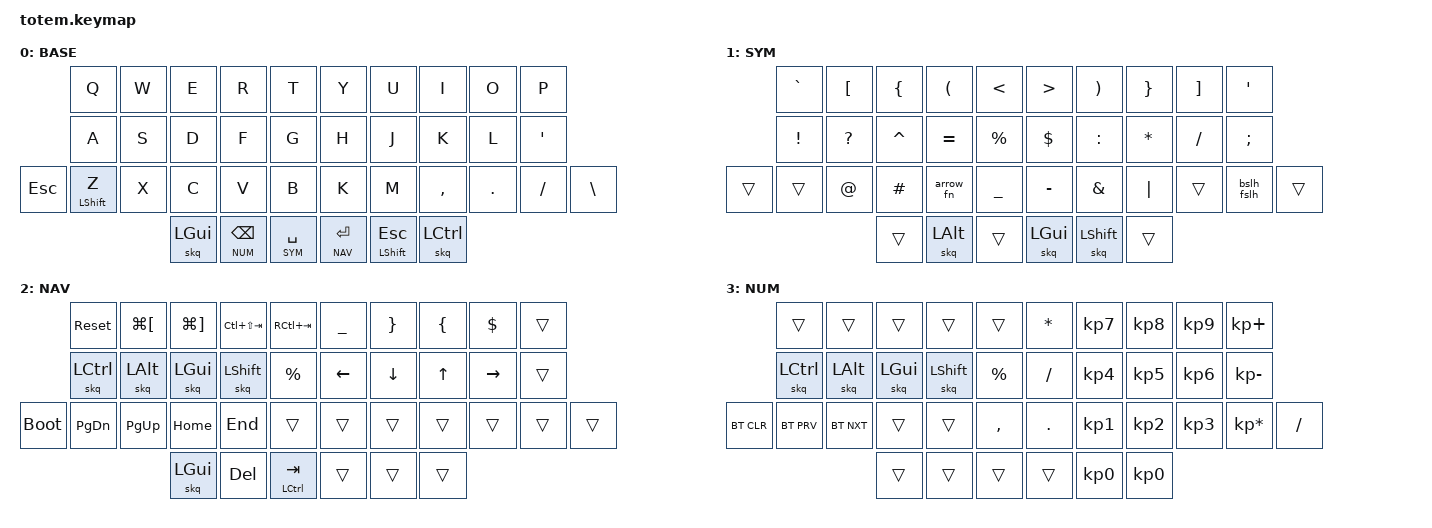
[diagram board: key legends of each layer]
//
//                                                        ▀▀▀▀▀     ▀▀▀▀▀          ▀▀█▀▀
//                                                        ▄▀▀▀▄  ▄  ▄▀▀▀▄  ▄  ▄▀▀▀▄  █  ▄▀▀▀▄
//                                                        █   █  █  █   █  █  █   █  █  █   █
//                                                         ▀▀▀   █   ▀▀▀   █   ▀▀▀   ▀   ▀▀▀
//                                                               █      ▄▄▄█▄▄▄    █   █  
//                                                               ▀      █  █  █     █▄█
//                                                             ▀▀▀▀▀    █  █  █      ▀
//                                                                      ▀  ▀  ▀
//
// ▄▄▄▄▄▄▄▄▄▄▄▄▄▄▄▄▄▄▄▄▄▄▄▄▄▄▄▄▄▄▄▄▄▄▄▄▄▄▄▄▄▄▄▄▄▄▄▄▄▄▄▄▄▄▄▄▄▄▄▄▄▄▄▄▄▄▄▄▄▄▄▄▄▄▄▄▄▄▄▄▄▄▄▄▄▄▄▄▄▄▄▄▄▄▄▄▄▄▄▄▄▄▄▄▄▄▄▄▄▄▄▄▄▄▄▄▄▄▄▄▄▄▄▄▄▄▄▄▄▄▄▄▄▄▄▄▄▄▄▄▄▄▄▄▄▄▄▄▄
       

#include <behaviors.dtsi>
#include <dt-bindings/zmk/keys.h>
#include <dt-bindings/zmk/bt.h>
#include <dt-bindings/zmk/outputs.h>

#define BASE 0
#define NAV  1
#define SYM  2
#define NUM  3

&lt {
  flavor = "balanced";
  tapping-term-ms = <200>;
  quick-tap-ms = <175>;
};

&mt {
  quick-tap-ms = <100>;
  global-quick-tap;
  flavor = "tap-preferred";
  tapping-term-ms = <170>;
};

/ {
  behaviors {
    // sticky quick release
    skq: sticky_key_quick_release {
      compatible = "zmk,behavior-sticky-key";
      label = "STICKY_KEY_QUICK_RELEASE";
      #binding-cells = <1>;
      bindings = <&kp>;
      release-after-ms = <1000>;
      quick-release;
      ignore-modifiers;
    };

    // tap: left-parenthesis | shift + tap: less-than
    lpar_lt: lpar_lessthan {
      compatible = "zmk,behavior-mod-morph";
      label = "LPAR_GREATER_THAN";
      #binding-cells = <0>;
      bindings = <&kp LPAR>, <&kp LT>;
      mods = <(MOD_LSFT|MOD_RSFT)>;
    };

    // tap: right-parenthesis | shift + tap: greater-than
    rpar_gt: rpar_greaterthan {
      compatible = "zmk,behavior-mod-morph";
      label = "RPAR_LESS_THAN";
      #binding-cells = <0>;
      bindings = <&kp RPAR>, <&kp GT>;
      mods = <(MOD_LSFT|MOD_RSFT)>;
    };

    // tap: backslash | shift + tap: forwardslash
    bslh_fslh: backslash_forwardslash {
      compatible = "zmk,behavior-mod-morph";
      label = "BACKSLASH_FORWARDSLASH";
      #binding-cells = <0>;
      bindings = <&kp BSLH>, <&kp FSLH>;
      mods = <(MOD_LSFT|MOD_RSFT)>;
    };
 
    // tap: dot | shift + tap: comma 
    dot_comma: dot_comma {
      compatible = "zmk,behavior-mod-morph";
      label = "DOT_COMMA";
      #binding-cells = <0>;
      bindings = <&kp DOT>, <&kp COMMA>;
      mods = <(MOD_LSFT|MOD_RSFT)>;
    };
  };

  macros {
    arrow_fn: arrow_fn {
      compatible = "zmk,behavior-macro";
      label = "ARROW_FUNCTION";
      #binding-cells = <0>;
      bindings
        = <&macro_tap &kp EQUAL>
        , <&macro_tap &kp GT>
        ;
    };
  };

        keymap {
                compatible = "zmk,keymap";
// ▄▄▄▄▄▄▄▄▄▄▄▄▄▄▄▄▄▄▄▄▄▄▄▄▄▄▄▄▄▄▄▄▄▄▄▄▄▄▄▄▄▄▄▄▄▄▄▄▄▄▄▄▄▄▄▄▄▄▄▄▄▄▄▄▄▄▄▄▄▄▄▄▄▄▄▄▄▄▄▄▄▄▄▄▄▄▄▄▄▄▄▄▄▄▄▄▄▄▄▄▄▄▄▄▄▄▄▄▄▄▄▄▄▄▄▄▄▄▄▄▄▄▄▄▄▄▄▄▄▄▄▄▄▄▄▄▄▄▄▄▄▄▄▄▄▄▄▄▄

                base_layer {
// ┏━━━━━━━━━━━━━━━━━━━━━━━━━━━━━━━━━━━━━━━┓
label= "BASE"                              ;
// ┗━━━━━━━━━━━━━━━━━━━━━━━━━━━━━━━━━━━━━━━┛
//             ┏━━━━━━━━━━━┳━━━━━━━━━━━┳━━━━━━━━━━━┳━━━━━━━━━━━┳━━━━━━━━━━━┓   ┏━━━━━━━━━━━┳━━━━━━━━━━━┳━━━━━━━━━━━┳━━━━━━━━━━━┳━━━━━━━━━━━┓
//             ┃     Q     ┃     W     ┃     E     ┃     R     ┃     T     ┃   ┃     Y     ┃     U     ┃     I     ┃     O     ┃     P     ┃
//             ┣━━━━━━━━━━━╋━━━━━━━━━━━╋━━━━━━━━━━━╋━━━━━━━━━━━╋━━━━━━━━━━━┫   ┣━━━━━━━━━━━╋━━━━━━━━━━━╋━━━━━━━━━━━╋━━━━━━━━━━━╋━━━━━━━━━━━┫
//             ┃     A     ┃     S     ┃     D     ┃     F     ┃     G     ┃   ┃     H     ┃     J     ┃     K     ┃     L     ┃     ;     ┃
// ┏━━━━━━━━━━━╋━━━━━━━━━━━╋━━━━━━━━━━━╋━━━━━━━━━━━╋━━━━━━━━━━━╋━━━━━━━━━━━┫   ┣━━━━━━━━━━━╋━━━━━━━━━━━╋━━━━━━━━━━━╋━━━━━━━━━━━╋━━━━━━━━━━━╋━━━━━━━━━━━┓
// ┃    ESC    ┃     Z     ┃     X     ┃     C     ┃     V     ┃     B     ┃   ┃     N     ┃     M     ┃     ,     ┃     .     ┃     /     ┃     \     ┃
// ┗━━━━━━━━━━━┻━━━━━━━━━━━┻━━━━━━━━━━━╋━━━━━━━━━━━╋━━━━━━━━━━━╋━━━━━━━━━━━┫   ┣━━━━━━━━━━━╋━━━━━━━━━━━╋━━━━━━━━━━━╋━━━━━━━━━━━┻━━━━━━━━━━━┻━━━━━━━━━━━┛
//                                     ┃   LGUI    ┃   BSPC    ┃    SPC    ┃   ┃    RET    ┃ LSHFT/ESC ┃   LCTRL   ┃
//                                     ┗━━━━━━━━━━━┻━━━━━━━━━━━┻━━━━━━━━━━━┛   ┗━━━━━━━━━━━┻━━━━━━━━━━━┻━━━━━━━━━━━┛
 bindings = <
// ╷           ╷           ╷           ╷           ╷           ╷           ╷   ╷           ╷           ╷           ╷           ╷           ╷           ╷

                &kp Q       &kp W       &kp E       &kp R        &kp T           &kp Y       &kp U         &kp I       &kp O      &kp P
                &kp A       &kp S       &kp D       &kp F        &kp G           &kp H       &kp J         &kp K       &kp L      &kp SQT
    &kp ESC     &mt LSHFT Z &kp X       &kp C       &kp V        &kp B           &kp K       &kp M         &kp COMMA   &kp DOT    &kp FSLH  &kp BSLH
                                        &skq LGUI   &lt NUM BSPC &lt SYM SPACE   &lt NAV RET &mt LSHFT ESC &skq LCTRL
                        >;
                };

// ▄▄▄▄▄▄▄▄▄▄▄▄▄▄▄▄▄▄▄▄▄▄▄▄▄▄▄▄▄▄▄▄▄▄▄▄▄▄▄▄▄▄▄▄▄▄▄▄▄▄▄▄▄▄▄▄▄▄▄▄▄▄▄▄▄▄▄▄▄▄▄▄▄▄▄▄▄▄▄▄▄▄▄▄▄▄▄▄▄▄▄▄▄▄▄▄▄▄▄▄▄▄▄▄▄▄▄▄▄▄▄▄▄▄▄▄▄▄▄▄▄▄▄▄▄▄▄▄▄▄▄▄▄▄▄▄▄▄▄▄▄▄▄▄▄▄▄▄▄


                sym_layer {
// ┏━━━━━━━━━━━━━━━━━━━━━━━━━━━━━━━━━━━━━━━┓
label= "SYM"                               ;
// ┗━━━━━━━━━━━━━━━━━━━━━━━━━━━━━━━━━━━━━━━┛
//             ┏━━━━━━━━━━━┳━━━━━━━━━━━┳━━━━━━━━━━━┳━━━━━━━━━━━┳━━━━━━━━━━━┓   ┏━━━━━━━━━━━┳━━━━━━━━━━━┳━━━━━━━━━━━┳━━━━━━━━━━━┳━━━━━━━━━━━┓
//             ┃     `     ┃     [     ┃     {     ┃     (     ┃     <     ┃   ┃     >     ┃     )     ┃     }     ┃     ]     ┃     '     ┃
//             ┣━━━━━━━━━━━╋━━━━━━━━━━━╋━━━━━━━━━━━╋━━━━━━━━━━━╋━━━━━━━━━━━┫   ┣━━━━━━━━━━━╋━━━━━━━━━━━╋━━━━━━━━━━━╋━━━━━━━━━━━╋━━━━━━━━━━━┫
//             ┃     !     ┃     ?     ┃     ^     ┃     =     ┃     %     ┃   ┃     $     ┃     :     ┃     *     ┃     /     ┃     ;     ┃
// ┏━━━━━━━━━━━╋━━━━━━━━━━━╋━━━━━━━━━━━╋━━━━━━━━━━━╋━━━━━━━━━━━╋━━━━━━━━━━━┫   ┣━━━━━━━━━━━╋━━━━━━━━━━━╋━━━━━━━━━━━╋━━━━━━━━━━━╋━━━━━━━━━━━╋━━━━━━━━━━━┓
// ┃           ┃           ┃     @     ┃     #     ┃     =>    ┃     _     ┃   ┃     -     ┃     &     ┃     |     ┃           ┃     \     ┃           ┃
// ┗━━━━━━━━━━━┻━━━━━━━━━━━┻━━━━━━━━━━━╋━━━━━━━━━━━╋━━━━━━━━━━━╋━━━━━━━━━━━┫   ┣━━━━━━━━━━━╋━━━━━━━━━━━╋━━━━━━━━━━━╋━━━━━━━━━━━┻━━━━━━━━━━━┻━━━━━━━━━━━┛
//                                     ┃           ┃   LALT    ┃           ┃   ┃   LGUI    ┃   LSHFT   ┃           ┃
//                                     ┗━━━━━━━━━━━┻━━━━━━━━━━━┻━━━━━━━━━━━┛   ┗━━━━━━━━━━━┻━━━━━━━━━━━┻━━━━━━━━━━━┛
 bindings = <
// ╷           ╷           ╷           ╷           ╷           ╷           ╷   ╷           ╷           ╷           ╷           ╷           ╷           ╷

                &kp GRAVE   &kp LBKT    &kp LBRC    &kp LPAR    &kp LT          &kp GT      &kp RPAR    &kp RBRC    &kp RBKT    &kp SQT 
                &kp EXCL    &kp QMARK   &kp CARET   &kp EQUAL   &kp PRCNT       &kp DLLR    &kp COLON   &kp STAR    &kp FSLH    &kp SEMI       
    &trans      &trans      &kp AT      &kp HASH    &arrow_fn   &kp UNDER       &kp MINUS   &kp AMPS    &kp PIPE    &trans      &bslh_fslh    &trans         
                                        &trans      &skq LALT   &trans          &skq LGUI   &skq LSHFT  &trans      
                        >;
                };

// ▄▄▄▄▄▄▄▄▄▄▄▄▄▄▄▄▄▄▄▄▄▄▄▄▄▄▄▄▄▄▄▄▄▄▄▄▄▄▄▄▄▄▄▄▄▄▄▄▄▄▄▄▄▄▄▄▄▄▄▄▄▄▄▄▄▄▄▄▄▄▄▄▄▄▄▄▄▄▄▄▄▄▄▄▄▄▄▄▄▄▄▄▄▄▄▄▄▄▄▄▄▄▄▄▄▄▄▄▄▄▄▄▄▄▄▄▄▄▄▄▄▄▄▄▄▄▄▄▄▄▄▄▄▄▄▄▄▄▄▄▄▄▄▄▄▄▄▄▄


                nav_layer {
// ┏━━━━━━━━━━━━━━━━━━━━━━━━━━━━━━━━━━━━━━━┓
label= "NAV"                               ;
// ┗━━━━━━━━━━━━━━━━━━━━━━━━━━━━━━━━━━━━━━━┛
//             ┏━━━━━━━━━━━┳━━━━━━━━━━━┳━━━━━━━━━━━┳━━━━━━━━━━━┳━━━━━━━━━━━┓   ┏━━━━━━━━━━━┳━━━━━━━━━━━┳━━━━━━━━━━━┳━━━━━━━━━━━┳━━━━━━━━━━━┓
//             ┃           ┃           ┃           ┃           ┃           ┃   ┃     ^     ┃   RBRC    ┃   LBRC    ┃     $     ┃           ┃
//             ┣━━━━━━━━━━━╋━━━━━━━━━━━╋━━━━━━━━━━━╋━━━━━━━━━━━╋━━━━━━━━━━━┫   ┣━━━━━━━━━━━╋━━━━━━━━━━━╋━━━━━━━━━━━╋━━━━━━━━━━━╋━━━━━━━━━━━┫
//             ┃   LCTRL   ┃   LALT    ┃   LGUI    ┃   LSHFT   ┃     %     ┃   ┃   LEFT    ┃   DOWN    ┃    UP     ┃   RIGHT   ┃           ┃
// ┏━━━━━━━━━━━╋━━━━━━━━━━━╋━━━━━━━━━━━╋━━━━━━━━━━━╋━━━━━━━━━━━╋━━━━━━━━━━━┫   ┣━━━━━━━━━━━╋━━━━━━━━━━━╋━━━━━━━━━━━╋━━━━━━━━━━━╋━━━━━━━━━━━╋━━━━━━━━━━━┓
// ┃ BOOTLOAD  ┃   PG DN   ┃   PG UP   ┃   HOME    ┃    END    ┃           ┃   ┃           ┃           ┃           ┃           ┃           ┃           ┃
// ┗━━━━━━━━━━━┻━━━━━━━━━━━┻━━━━━━━━━━━╋━━━━━━━━━━━╋━━━━━━━━━━━╋━━━━━━━━━━━┫   ┣━━━━━━━━━━━╋━━━━━━━━━━━╋━━━━━━━━━━━╋━━━━━━━━━━━┻━━━━━━━━━━━┻━━━━━━━━━━━┛
//                                     ┃   LGUI    ┃   DEL     ┃ CTRL/TAB  ┃   ┃           ┃           ┃           ┃
//                                     ┗━━━━━━━━━━━┻━━━━━━━━━━━┻━━━━━━━━━━━┛   ┗━━━━━━━━━━━┻━━━━━━━━━━━┻━━━━━━━━━━━┛
 bindings = <
// ╷           ╷           ╷           ╷           ╷           ╷           ╷   ╷           ╷           ╷           ╷           ╷           ╷           ╷

                &sys_reset  &kp LG(LBKT) &kp LG(RBKT) &kp LC(LS(TAB)) &kp RC(TAB) &kp UNDER   &kp RBRC    &kp LBRC    &kp DLLR    &trans
                &skq LCTRL  &skq LALT    &skq LGUI   &skq LSHFT  &kp PRCNT        &kp LEFT    &kp DOWN    &kp UP      &kp RIGHT   &trans
    &bootloader &kp PG_DN   &kp PG_UP    &kp HOME    &kp END     &trans           &trans      &trans      &trans      &trans      &trans      &trans         
                                         &skq LGUI   &kp DEL     &mt LCTRL TAB    &trans      &trans      &trans      
                        >;
                };

// ▄▄▄▄▄▄▄▄▄▄▄▄▄▄▄▄▄▄▄▄▄▄▄▄▄▄▄▄▄▄▄▄▄▄▄▄▄▄▄▄▄▄▄▄▄▄▄▄▄▄▄▄▄▄▄▄▄▄▄▄▄▄▄▄▄▄▄▄▄▄▄▄▄▄▄▄▄▄▄▄▄▄▄▄▄▄▄▄▄▄▄▄▄▄▄▄▄▄▄▄▄▄▄▄▄▄▄▄▄▄▄▄▄▄▄▄▄▄▄▄▄▄▄▄▄▄▄▄▄▄▄▄▄▄▄▄▄▄▄▄▄▄▄▄▄▄▄▄▄


                num_layer {
// ┏━━━━━━━━━━━━━━━━━━━━━━━━━━━━━━━━━━━━━━━┓
label= "NUM"                               ;
// ┗━━━━━━━━━━━━━━━━━━━━━━━━━━━━━━━━━━━━━━━┛
//             ┏━━━━━━━━━━━┳━━━━━━━━━━━┳━━━━━━━━━━━┳━━━━━━━━━━━┳━━━━━━━━━━━┓   ┏━━━━━━━━━━━┳━━━━━━━━━━━┳━━━━━━━━━━━┳━━━━━━━━━━━┳━━━━━━━━━━━┓
//             ┃           ┃           ┃           ┃           ┃           ┃   ┃     *     ┃     7     ┃     8     ┃     9     ┃     +     ┃
//             ┣━━━━━━━━━━━╋━━━━━━━━━━━╋━━━━━━━━━━━╋━━━━━━━━━━━╋━━━━━━━━━━━┫   ┣━━━━━━━━━━━╋━━━━━━━━━━━╋━━━━━━━━━━━╋━━━━━━━━━━━╋━━━━━━━━━━━┫
//             ┃   LCTRL   ┃   LALT    ┃   LGUI    ┃   LSHFT   ┃     %     ┃   ┃     /     ┃     4     ┃     5     ┃     6     ┃     -     ┃
// ┏━━━━━━━━━━━╋━━━━━━━━━━━╋━━━━━━━━━━━╋━━━━━━━━━━━╋━━━━━━━━━━━╋━━━━━━━━━━━┫   ┣━━━━━━━━━━━╋━━━━━━━━━━━╋━━━━━━━━━━━╋━━━━━━━━━━━╋━━━━━━━━━━━╋━━━━━━━━━━━┓
// ┃ BT CLEAR  ┃  BT PREV  ┃  BT NEXT  ┃           ┃           ┃     ,     ┃   ┃     .     ┃     1     ┃     2     ┃     3     ┃     *     ┃     /     ┃
// ┗━━━━━━━━━━━┻━━━━━━━━━━━┻━━━━━━━━━━━╋━━━━━━━━━━━╋━━━━━━━━━━━╋━━━━━━━━━━━┫   ┣━━━━━━━━━━━╋━━━━━━━━━━━╋━━━━━━━━━━━╋━━━━━━━━━━━┻━━━━━━━━━━━┻━━━━━━━━━━━┛
//                                     ┃           ┃           ┃           ┃   ┃           ┃     0     ┃     0     ┃
//                                     ┗━━━━━━━━━━━┻━━━━━━━━━━━┻━━━━━━━━━━━┛   ┗━━━━━━━━━━━┻━━━━━━━━━━━┻━━━━━━━━━━━┛
 bindings = <
// ╷           ╷           ╷           ╷           ╷           ╷           ╷   ╷           ╷           ╷           ╷           ╷           ╷           ╷

                &trans      &trans      &trans      &trans      &trans          &kp STAR    &kp KP_N7   &kp KP_N8   &kp KP_N9   &kp KP_PLUS
                &skq LCTRL  &skq LALT   &skq LGUI   &skq LSHFT  &kp PRCNT       &kp FSLH    &kp KP_N4   &kp KP_N5   &kp KP_N6   &kp KP_MINUS
    &bt BT_CLR  &bt BT_PRV &bt BT_NXT  &trans      &trans      &kp COMMA       &kp DOT     &kp KP_N1   &kp KP_N2   &kp KP_N3   &kp KP_MULTIPLY &kp FSLH      
                                        &trans      &trans      &trans          &trans      &kp KP_N0   &kp KP_N0      
                        >;
                };
        };
};
